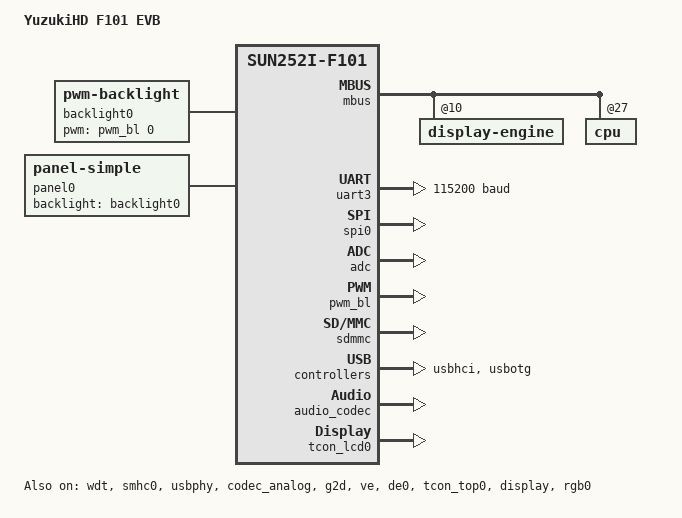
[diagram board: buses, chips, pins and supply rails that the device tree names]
/*
 * Copyright (c) 2026 Yuzuki Tsuru
 *
 * SPDX-License-Identifier: Apache-2.0
 */

/*
 * Allwinner F101 EVB: console on the EVB debug UART (UART3, PE08/PE09), 1024x600 RGB666 panel
 * with a PWM_BL backlight, TF card slot, USB (OTG and a host port), audio codec, 2D accelerator
 * and video engine.
 *
 * UART3 takes the pins of I2C0, so I2C0 is off. The LCD owns PD0..PD21, so the MIPI DBI, SPI1
 * and PWM0 (PD6..PD8) are off too. PB0..PB3 carry the panel backlight (PWM_BL).
 */

/dts-v1/;

#include <allwinner/sun252i_f101.dtsi>
#include <zephyr/dt-bindings/display/sunxi-display.h>
#include <zephyr/dt-bindings/pwm/pwm.h>
#include <zephyr/dt-bindings/misc/sun252i-f101-mbus.h>

/ {
	model = "YuzukiHD F101 EVB";
	compatible = "yuzukihd,f101-evb";

	chosen {
		zephyr,console = &uart3;
		zephyr,shell-uart = &uart3;
		zephyr,sram = &sram0;
		zephyr,display = &display;
	};

	aliases {
		i2c-0 = &i2c0;
	};
};

/* Pin groups of the whole board */
&pio {
	/* UART3 console on PE08 (TX) / PE09 (RX), muxsel 6 */
	uart3_pins: uart3_pins {
		uart3_tx_rx {
			pinmux = <ALLWINNER_PINMUX(ALLWINNER_PIO_PE, 8, 6)
				  ALLWINNER_PINMUX(ALLWINNER_PIO_PE, 9, 6)>;
		};
	};

	/* I2C0 on PE08/PE09, the pins of the console */
	twi0_pins: twi0_pins {
		twi0_pins_group {
			pinmux = <ALLWINNER_PINMUX(ALLWINNER_PIO_PE, 8, 4)
				  ALLWINNER_PINMUX(ALLWINNER_PIO_PE, 9, 4)>;
			bias-pull-up;
		};
	};

	/* SPI0 on PC0..PC5 (the SPI NOR flash controller uses the same pins) */
	spi0_pins: spi0_pins {
		spi0_data {
			pinmux = <ALLWINNER_PINMUX(ALLWINNER_PIO_PC, 0, 3)
				  ALLWINNER_PINMUX(ALLWINNER_PIO_PC, 4, 3)
				  ALLWINNER_PINMUX(ALLWINNER_PIO_PC, 2, 3)>;
			bias-disable;
		};
		spi0_control {
			pinmux = <ALLWINNER_PINMUX(ALLWINNER_PIO_PC, 1, 3)
				  ALLWINNER_PINMUX(ALLWINNER_PIO_PC, 3, 3)
				  ALLWINNER_PINMUX(ALLWINNER_PIO_PC, 5, 3)>;
			bias-pull-up;
		};
	};

	/* PWM0 on PD6..PD8 (mux 6) and PB3 (mux 7), unusable while the panel owns PD6..PD8 */
	pwm0_pins: pwm0_pins {
		pwm0_group {
			pinmux = <ALLWINNER_PINMUX(ALLWINNER_PIO_PD, 6, 6)
				  ALLWINNER_PINMUX(ALLWINNER_PIO_PD, 7, 6)
				  ALLWINNER_PINMUX(ALLWINNER_PIO_PD, 8, 6)
				  ALLWINNER_PINMUX(ALLWINNER_PIO_PB, 3, 7)>;
		};
	};

	/* PWM_BL backlight: PB0..PB3 mux 2 */
	pwm_bl_pins: pwm_bl_pins {
		pwm_bl_group {
			pinmux = <ALLWINNER_PINMUX(ALLWINNER_PIO_PB, 0, 2)
				  ALLWINNER_PINMUX(ALLWINNER_PIO_PB, 1, 2)
				  ALLWINNER_PINMUX(ALLWINNER_PIO_PB, 2, 2)
				  ALLWINNER_PINMUX(ALLWINNER_PIO_PB, 3, 2)>;
		};
	};

	/* MIPI DBI on PD0..PD3/PD5 */
	dbi1_pins: dbi1_pins {
		dbi1_group {
			pinmux = <ALLWINNER_PINMUX(ALLWINNER_PIO_PD, 0, 3)
				  ALLWINNER_PINMUX(ALLWINNER_PIO_PD, 1, 3)
				  ALLWINNER_PINMUX(ALLWINNER_PIO_PD, 2, 3)
				  ALLWINNER_PINMUX(ALLWINNER_PIO_PD, 3, 3)
				  ALLWINNER_PINMUX(ALLWINNER_PIO_PD, 5, 3)>;
			bias-disable;
		};
	};

	/* TF card slot on SMHC0 (PF0..PF5, shared with the JTAG port) */
	smhc0_pins: smhc0_pins {
		smhc0_clk {
			pinmux = <ALLWINNER_PINMUX(ALLWINNER_PIO_PF, 2, 2)>;
			bias-disable;
		};
		smhc0_cmd_data {
			pinmux = <ALLWINNER_PINMUX(ALLWINNER_PIO_PF, 3, 2)
				  ALLWINNER_PINMUX(ALLWINNER_PIO_PF, 1, 2)
				  ALLWINNER_PINMUX(ALLWINNER_PIO_PF, 0, 2)
				  ALLWINNER_PINMUX(ALLWINNER_PIO_PF, 5, 2)
				  ALLWINNER_PINMUX(ALLWINNER_PIO_PF, 4, 2)>;
			bias-pull-up;
		};
	};

	/* RGB panel: 18 bit parallel RGB on PD0..PD9, PD12..PD21, PE6, PE7 */
	rgb_pins: rgb_pins {
		rgb_lcd {
			pinmux = <ALLWINNER_PINMUX(ALLWINNER_PIO_PD, 0, 2)
				  ALLWINNER_PINMUX(ALLWINNER_PIO_PD, 1, 2)
				  ALLWINNER_PINMUX(ALLWINNER_PIO_PD, 2, 2)
				  ALLWINNER_PINMUX(ALLWINNER_PIO_PD, 3, 2)
				  ALLWINNER_PINMUX(ALLWINNER_PIO_PD, 4, 2)
				  ALLWINNER_PINMUX(ALLWINNER_PIO_PD, 5, 2)
				  ALLWINNER_PINMUX(ALLWINNER_PIO_PD, 6, 2)
				  ALLWINNER_PINMUX(ALLWINNER_PIO_PD, 7, 2)
				  ALLWINNER_PINMUX(ALLWINNER_PIO_PD, 8, 2)
				  ALLWINNER_PINMUX(ALLWINNER_PIO_PD, 9, 2)
				  ALLWINNER_PINMUX(ALLWINNER_PIO_PE, 6, 4)
				  ALLWINNER_PINMUX(ALLWINNER_PIO_PE, 7, 4)
				  ALLWINNER_PINMUX(ALLWINNER_PIO_PD, 12, 2)
				  ALLWINNER_PINMUX(ALLWINNER_PIO_PD, 13, 2)
				  ALLWINNER_PINMUX(ALLWINNER_PIO_PD, 14, 2)
				  ALLWINNER_PINMUX(ALLWINNER_PIO_PD, 15, 2)
				  ALLWINNER_PINMUX(ALLWINNER_PIO_PD, 16, 2)
				  ALLWINNER_PINMUX(ALLWINNER_PIO_PD, 17, 2)
				  ALLWINNER_PINMUX(ALLWINNER_PIO_PD, 18, 2)
				  ALLWINNER_PINMUX(ALLWINNER_PIO_PD, 19, 2)
				  ALLWINNER_PINMUX(ALLWINNER_PIO_PD, 20, 2)
				  ALLWINNER_PINMUX(ALLWINNER_PIO_PD, 21, 2)>;
		};
	};
};

/* System */
&dma {
	status = "okay";
};

&wdt {
	status = "okay";
};

/* DE at top priority, RISCV capped */
&mbus {
	status = "okay";

	display-engine@10 {
		reg = <SUN252I_F101_MBUS_MASTER_DE>;
		priority = <3>;
	};

	cpu@27 {
		reg = <SUN252I_F101_MBUS_MASTER_RISCV>;
		bandwidth-limit-mbps = <500>;
	};
};

/* Console */
&uart3 {
	status = "okay";
	current-speed = <115200>;
	pinctrl-0 = <&uart3_pins>;
	pinctrl-names = "default";
};

/* Buses and converters */
&spi0 {
	status = "okay";
	pinctrl-0 = <&spi0_pins>;
	pinctrl-names = "default";
};

&adc {
	status = "okay";
};

/* pins shared with the LCD or the console */
&i2c0 {
	status = "disabled";
	pinctrl-0 = <&twi0_pins>;
	pinctrl-names = "default";
};

&dbi {
	status = "disabled";
	pinctrl-0 = <&dbi1_pins>;
	pinctrl-names = "default";
};

&pwm {
	status = "disabled";
	pinctrl-0 = <&pwm0_pins>;
	pinctrl-names = "default";
};

/* PWM_BL drives the panel backlight, see backlight0 */
&pwm_bl {
	status = "okay";
	pinctrl-0 = <&pwm_bl_pins>;
	pinctrl-names = "default";
};

/* Storage */
/*
 * TF card slot on SMHC0 (4 bit, card detect on PF06, low with a card in). SMHC2
 * (the WiFi SDIO port) stays off: its clock pin PE02 is the USB VBUS switch.
 */
&smhc0 {
	pinctrl-0 = <&smhc0_pins>;
	pinctrl-names = "default";
	bus-width = <4>;
	cd-gpios = <&gpiof 6 GPIO_ACTIVE_LOW>;
	status = "okay";

	sdmmc {
		compatible = "zephyr,sdmmc-disk";
		disk-name = "SD";
		status = "okay";
	};
};

/* USB */
/*
 * USB 2.0 port: the OTG (device) controller and the EHCI/OHCI host controllers
 * share one PHY, an application starts the stack of the role it needs. PE02
 * drives VBUS for the host role.
 */
&usbphy {
	vbus-gpios = <&gpioe 2 0>;
	status = "okay";
};

&usbhci {
	status = "okay";
};

&usbotg {
	status = "okay";
};

/* Audio */
/*
 * On-chip audio codec: headphone out, the external speaker amplifier is enabled by PE10. Its DMA
 * streams use channels 1 (DAC) and 2 (ADC) of the DMA controller.
 */
&audio_codec {
	status = "okay";
};

&codec_analog {
	pa-gpios = <&gpioe 10 GPIO_ACTIVE_HIGH>;
	status = "okay";
};

/* Multimedia accelerators */
/* 2D graphics accelerator */
&g2d {
	status = "okay";
};

/* Video engine: hardware JPEG, PNG and H.264 decoder */
&ve {
	status = "okay";
};

/*
 * Display: de0 -> tcon_lcd0 -> rgb0 -> panel0, the 1024x600 RGB666 panel with the PWM_BL backlight
 */
&de0 {
	status = "okay";
	brightness = <50>;
	contrast = <50>;
	saturation = <57>;
	hue = <50>;
};

&tcon_top0 {
	status = "okay";
};

&tcon_lcd0 {
	status = "okay";
};

&display {
	status = "okay";
	width = <1024>;
	height = <600>;
};

&rgb0 {
	status = "okay";
	pinctrl-0 = <&rgb_pins>;
	pinctrl-names = "default";
	hv-mode = <SUNXI_HV_PARALLEL_RGB>;
	rgb-swap = <5>;

	ports {
		#address-cells = <1>;
		#size-cells = <0>;

		port@1 {
			reg = <1>;
			#address-cells = <1>;
			#size-cells = <0>;

			endpoint@0 {
				reg = <0>;
				remote-endpoint = <&panel0>;
			};
		};
	};
};

/ {
	backlight0: backlight {
		compatible = "pwm-backlight";
		pwms = <&pwm_bl 0 20000 PWM_POLARITY_INVERTED>;
		max-level = <255>;
		default-level = <250>;
	};

	panel0: panel {
		compatible = "panel-simple";
		width = <1024>;
		height = <600>;
		width-mm = <154>;
		height-mm = <86>;
		backlight = <&backlight0>;
		bus-format = "rgb666-1x18";
		enable-delay-ms = <50>;

		/* PD22 switches the panel supply */
		power-on-sequence = <SUNXI_CMD_GPIO(SUNXI_PIN(ALLWINNER_PIO_PD, 22), 1)
				     SUNXI_CMD_DELAY(30)>;
		power-off-sequence = <SUNXI_CMD_GPIO(SUNXI_PIN(ALLWINNER_PIO_PD, 22), 0)
				      SUNXI_CMD_DELAY(20)>;

		display-timings {
			compatible = "zephyr,panel-timing";
			clock-frequency = <49000000>;
			hsync-len = <20>;
			hfront-porch = <161>;
			hback-porch = <35>;
			vsync-len = <10>;
			vfront-porch = <15>;
			vback-porch = <25>;
			hsync-active = <0>;
			vsync-active = <0>;
			de-active = <1>;
			pixelclk-active = <1>;
		};
	};
};
